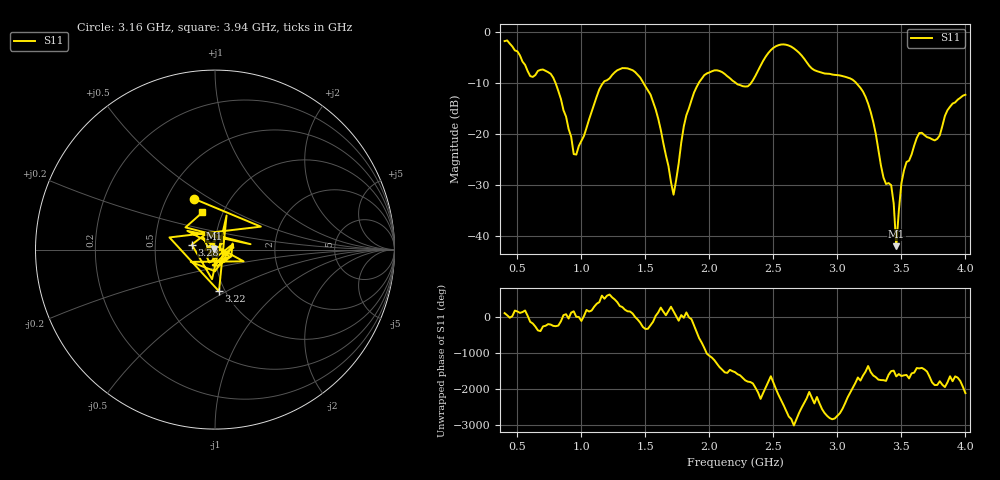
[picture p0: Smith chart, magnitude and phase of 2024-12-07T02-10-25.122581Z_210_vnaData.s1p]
!Created with skrf (http://scikit-rf.org).
# Hz S RI R 50.0
!freq ReS11 ImS11
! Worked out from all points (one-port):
!   181 points, 400 MHz to 4 GHz, reference 50 ohm
!   lowest |S11| = -42.0 dB at 3.46 GHz (marker M1), VSWR 1.02, Z = 49.4 + j0.478 ohm
!   |S11| at or under -10 dB: 799.2 MHz to 1.167 GHz (367.8 MHz wide, 37.4 % of centre); 1.486 GHz to 1.915 GHz (428.9 MHz wide, 25.2 % of centre); 3.15 GHz to end of sweep (the widest 3 of 4)
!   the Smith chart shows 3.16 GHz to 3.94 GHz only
!   S11 on the Smith chart (normalised r, x): 3.16 GHz: 0.68, +0.43; 3.22 GHz: 0.94, -0.46; 3.28 GHz: 0.77, +0.04; 3.94 GHz: 0.80, +0.35
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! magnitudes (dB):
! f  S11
! 400 MHz  -1.7
! 600 MHz  -8.6
! 760 MHz  -8.1
! 860 MHz  -15.3
! 960 MHz  -24.0
! 1.14 GHz  -11.2
! 1.3 GHz  -7.2
! 1.54 GHz  -12.2
! 1.72 GHz  -31.9
! 1.76 GHz  -25.7
! 1.82 GHz  -16.3
! 1.92 GHz  -9.8
! 2.2 GHz  -9.8
! 2.52 GHz  -2.7
! 2.66 GHz  -3.1
! 3.1 GHz  -9.0
! 3.16 GHz  -10.3
! 3.22 GHz  -12.6
! 3.28 GHz  -17.6
! 3.36 GHz  -28.5
! 3.42 GHz  -30.0
! 3.46 GHz  -42.0
! 3.5 GHz  -29.6
! 3.56 GHz  -25.2
! 3.64 GHz  -19.8
! 3.78 GHz  -20.9
! 3.94 GHz  -13.2
! 4 GHz  -12.2
